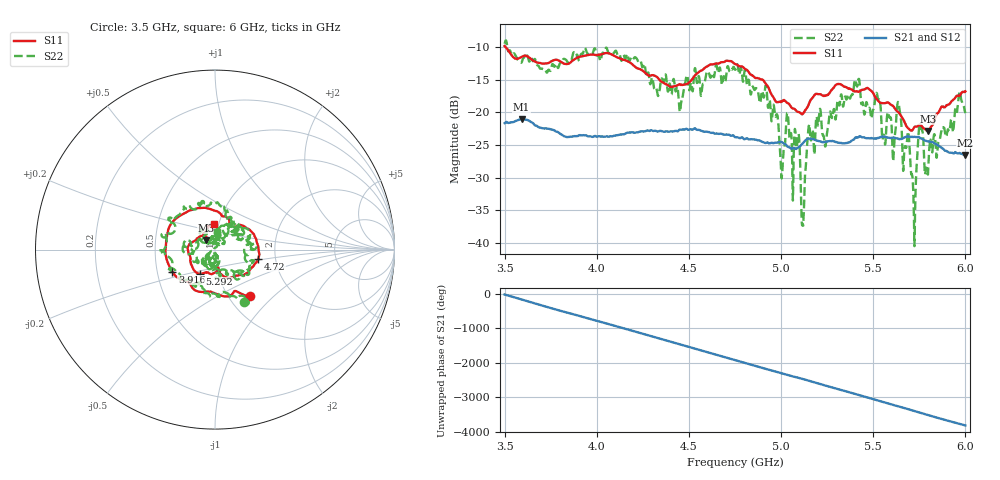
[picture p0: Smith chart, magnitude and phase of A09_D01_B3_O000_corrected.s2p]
! Created with skrf 1.9.0 (http://scikit-rf.org).
# Hz S RI R 50.0
!freq ReS11 ImS11 ReS21 ImS21 ReS12 ImS12 ReS22 ImS22
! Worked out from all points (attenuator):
!   1601 points, 3.5 GHz to 6 GHz, reference 50 ohm
!   highest |S21| = -21.05 dB at 3.592 GHz (marker M1); lowest = -26.5 dB at 6 GHz (marker M2)
!   lowest |S11| = -22.9 dB at 5.795 GHz (marker M3), VSWR 1.15, Z = 45.2 + j4.85 ohm
!   |S11| at or under -10 dB: 3.505 GHz to end of sweep
!   |S22| runs from -40.5 to -9.0 dB; largest |S21 - S12| = 0.0013
!   S11 on the Smith chart (normalised r, x): 3.5 GHz: 1.26, -0.72; 3.916 GHz: 0.60, -0.16; 4.72 GHz: 1.63, -0.17; 5.292 GHz: 0.81, -0.22; 6 GHz: 0.95, +0.28
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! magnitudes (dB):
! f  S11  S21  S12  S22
! 3.5 GHz  -9.9  -21.7  -21.7  -9.5
! 3.592 GHz  -11.5  -21.1  -21.1  -12.4
! 3.916 GHz  -11.5  -23.6  -23.5  -11.1
! 3.917 GHz  -11.4  -23.5  -23.5  -11.0
! 4.334 GHz  -14.8  -22.9  -22.9  -17.4
! 4.72 GHz  -12.2  -23.5  -23.5  -13.7
! 4.75 GHz  -12.6  -23.8  -23.8  -13.5
! 4.969 GHz  -18.3  -24.7  -24.6  -20.6
! 5.005 GHz  -18.3  -24.6  -24.6  -29.7
! 5.033 GHz  -18.5  -25.2  -25.1  -20.1
! 5.086 GHz  -19.9  -25.5  -25.5  -25.4
! 5.117 GHz  -20.3  -24.8  -24.8  -37.1
! 5.167 GHz  -17.9  -24.1  -24.1  -23.2
! 5.292 GHz  -16.0  -24.5  -24.5  -20.5
! 5.412 GHz  -16.8  -23.8  -23.9  -16.1
! 5.584 GHz  -18.6  -23.9  -23.9  -20.4
! 5.611 GHz  -19.1  -23.8  -23.8  -26.5
! 5.641 GHz  -20.1  -24.1  -24.1  -19.2
! 5.719 GHz  -22.5  -23.8  -23.8  -33.7
! 5.756 GHz  -21.9  -24.0  -23.9  -22.4
! 5.795 GHz  -22.9  -24.5  -24.4  -29.5
! 6 GHz  -16.8  -26.5  -26.5  -20.1
